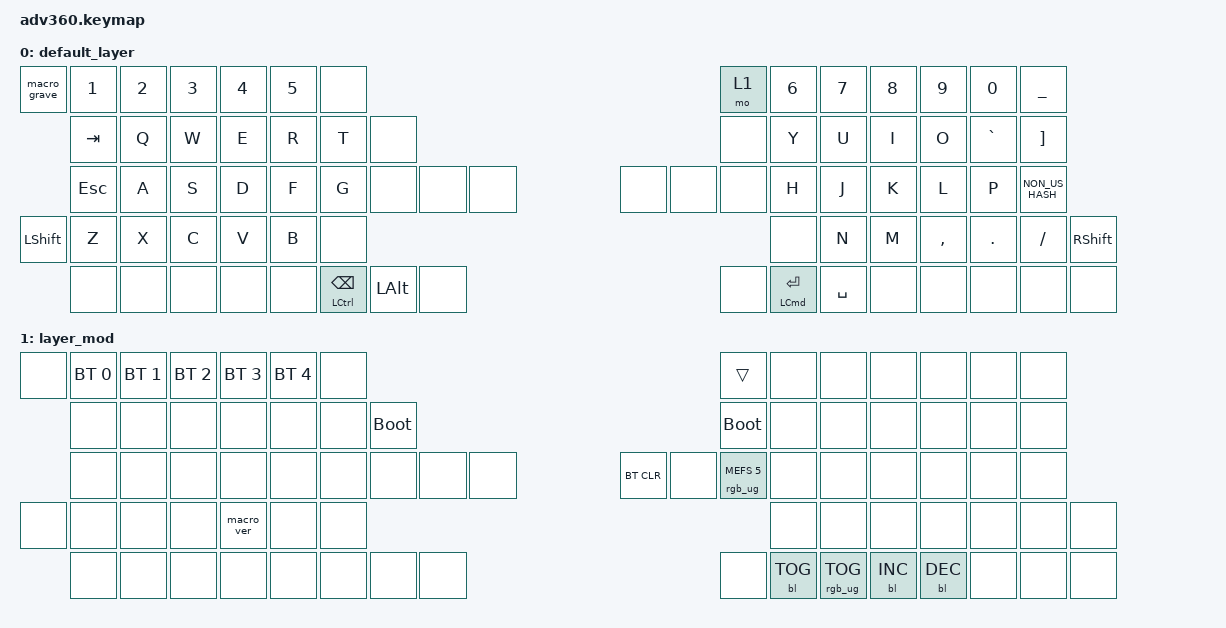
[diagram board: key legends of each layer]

/*
 * Copyright (c) 2020 The ZMK Contributors
 *
 * SPDX-License-Identifier: MIT
 */


/* THIS FILE WAS GENERATED!
 *
 * This file was generated automatically. You may or may not want to
 * edit it directly.
 */

#include <behaviors.dtsi>
#include <dt-bindings/zmk/keys.h>
#include <dt-bindings/zmk/bt.h>
#include <dt-bindings/zmk/rgb.h>
#include <dt-bindings/zmk/backlight.h>

/ {
  behaviors {
    #include "macros.dtsi"
    #include "version.dtsi"

    hm: homerow_mods {
        compatible = "zmk,behavior-hold-tap";
        label = "HOMEROW_MODS";
        #binding-cells = <2>;
        tapping-term-ms = <200>;
        quick_tap_ms = <175>;
        flavor = "tap-preferred";
        bindings = <&kp>, <&kp>;
    };
  };

    keymap {
        compatible = "zmk,keymap";


        default_layer {
            bindings = <
   &macro_grave  &kp N1  &kp N2  &kp N3  &kp N4  &kp N5                                 &none                                                                            &mo 1  &kp N6  &kp N7     &kp N8   &kp N9     &kp N0     &kp UNDERSCORE
        &kp TAB   &kp Q   &kp W   &kp E   &kp R   &kp T                                 &none                                                                            &none   &kp Y   &kp U      &kp I    &kp O  &kp GRAVE  &kp RIGHT_BRACKET
        &kp ESC   &kp A   &kp S   &kp D   &kp F   &kp G                                 &none         &none   &none                   &none                   &none      &none   &kp H   &kp J      &kp K    &kp L      &kp P    &kp NON_US_HASH
 &kp LEFT_SHIFT   &kp Z   &kp X   &kp C   &kp V   &kp B                                                       &none                   &none                                      &kp N   &kp M  &kp COMMA  &kp DOT  &kp SLASH          &kp RSHFT
          &none   &none   &none   &none   &none                    &mt LEFT_CONTROL BACKSPACE  &kp LEFT_ALT   &none                   &none  &mt LEFT_COMMAND ENTER  &kp SPACE           &none      &none    &none      &none              &none
            >;
        };

        layer_mod {
            bindings = <
  &none  &bt BT_SEL 0  &bt BT_SEL 1  &bt BT_SEL 2  &bt BT_SEL 3  &bt BT_SEL 4                  &none                                                                          &trans   &none       &none       &none   &none   &none   &none
  &none         &none         &none         &none         &none         &none            &bootloader                                                                     &bootloader   &none       &none       &none   &none   &none   &none
  &none         &none         &none         &none         &none         &none                  &none   &none   &none                  &bt BT_CLR       &none  &rgb_ug RGB_MEFS_CMD 5   &none       &none       &none   &none   &none   &none
  &none         &none         &none         &none    &macro_ver         &none                                  &none                       &none                                       &none       &none       &none   &none   &none   &none
  &none         &none         &none         &none         &none                                &none   &none   &none                       &none  &bl BL_TOG         &rgb_ug RGB_TOG          &bl BL_INC  &bl BL_DEC   &none   &none   &none
            >;
        };

    };
};
